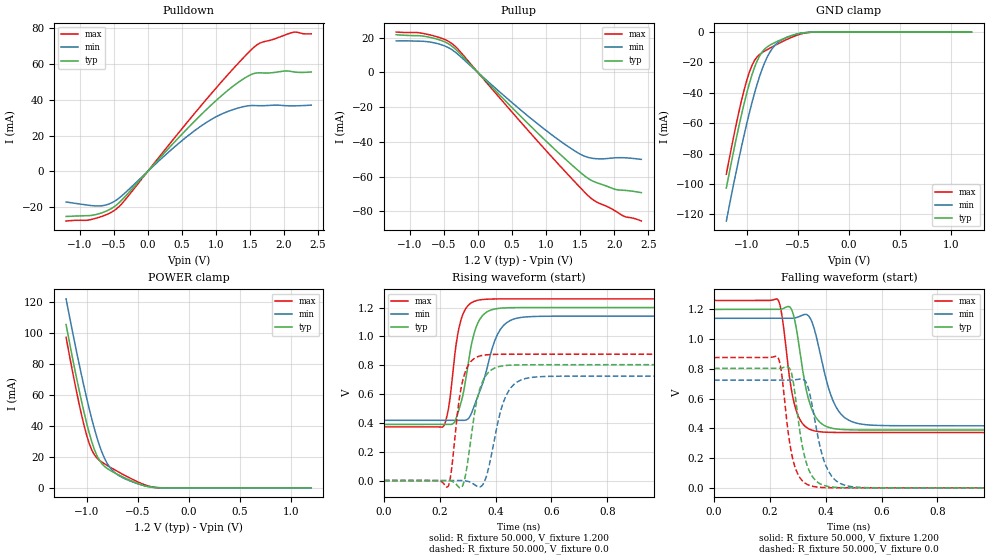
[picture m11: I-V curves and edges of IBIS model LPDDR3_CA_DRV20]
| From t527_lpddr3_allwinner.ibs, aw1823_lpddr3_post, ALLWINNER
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|   Model LPDDR3_CA_DRV20
[Model] LPDDR3_CA_DRV20
Model_type 3-state
Polarity   Non-Inverting
Enable   Active-Low
C_comp   1.408pF   1.324pF   1.527pF
C_comp_pullup   0.734pF   0.682pF   0.801pF
C_comp_pulldown   0.625pF   0.594pF   0.676pF
[Temperature Range]   25.000   0.125k   -40.000
[Voltage Range]   1.200V   1.140V   1.260V
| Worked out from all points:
|   slope of the pulldown table from 0 to 0.18 V, typ, clamps not added: 23.7 ohm
|   slope of the pullup table from 0 to 0.18 V, typ, clamps not added: 24.5 ohm
|   GND clamp passes 1 mA (typ) near -0.48 V on its own axis
|   POWER clamp passes 1 mA (typ) near -0.41 V on its own axis
|   rising waveform, R_fixture 50.000, V_fixture 1.200: 20-80 % time 48.2ps typ, 70.7ps min, 36.5ps max; typ from 0.389 V to 1.2 V
|   rising waveform, R_fixture 50.000, V_fixture 0.0: 20-80 % time 42.2ps typ, 53.9ps min, 35.3ps max; typ from 0 V to 0.803 V
|   falling waveform, R_fixture 50.000, V_fixture 1.200: 20-80 % time 48.1ps typ, 63.2ps min, 40.7ps max; typ from 1.2 V to 0.389 V
|   falling waveform, R_fixture 50.000, V_fixture 0.0: 20-80 % time 42.6ps typ, 52.7ps min, 38.1ps max; typ from 0.803 V to 0 V
[Pulldown]
|Voltage   I(typ)   I(min)   I(max)
-1.2V     -25.25mA   -17.13mA   -27.8mA
-904mV    -24.84mA   -18.8mA    -27.41mA
-682mV    -23.29mA   -19.29mA   -25.3mA
-423mV    -17.61mA   -15.01mA   -19.74mA
317mV     13.29mA    11.13mA    15.16mA
724mV     29.44mA    23.76mA    34.1mA
1.057V    41.44mA    31.55mA    48.96mA
1.427V    52.25mA    36.36mA    64.44mA
1.575V    54.87mA    36.78mA    69.95mA
1.686V    55.05mA    36.7mA     72.29mA
2.13V     55.69mA    36.62mA    77.73mA
2.4V      55.58mA    37.02mA    76.91mA
[Pullup]
|Voltage   I(typ)   I(min)   I(max)
-1.2V     21.71mA    18.14mA    23.27mA
-893mV    21.2mA     18.05mA    22.97mA
-708mV    20.23mA    17.55mA    21.64mA
-523mV    18.18mA    15.78mA    19.52mA
-375mV    14.97mA    12.91mA    16.45mA
772mV     -30.81mA   -26.25mA   -34.92mA
1.475V    -56.52mA   -46.39mA   -65.14mA
1.623V    -61.11mA   -48.95mA   -71.07mA
1.734V    -63.29mA   -49.62mA   -74.36mA
1.993V    -66.98mA   -49.17mA   -79.13mA
2.141V    -67.8mA    -49.07mA   -82.7mA
2.4V      -69.16mA   -50.03mA   -85.49mA
[GND_clamp]
|Voltage   I(typ)   I(min)   I(max)
-1.2V     -102.7mA   -124.4mA   -93.59mA
-1.125V   -77.24mA   -98.95mA   -67.74mA
-1.05V    -53.97mA   -75.04mA   -44.66mA
-1V       -40.19mA   -60.27mA   -31.8mA
-950mV    -28.4mA    -46.71mA   -22.12mA
-900mV    -19.25mA   -34.66mA   -16.44mA
-825mV    -11.25mA   -20.2mA    -12.55mA
-775mV    -8.684mA   -13.39mA   -10.65mA
-700mV    -6.13mA    -7.175mA   -7.957mA
-550mV    -2.174mA   -2.06mA    -3.161mA
-375mV    -119.5uA   -151.7uA   -195.8uA
1.2V      0A         0A         0A
[POWER_clamp]
|Voltage   I(typ)   I(min)   I(max)
-1.2V     105.6mA    122.2mA    97.33mA
-1.075V   63.95mA    80.94mA    55.07mA
-1.025V   49.04mA    65.7mA     40.61mA
-975mV    35.84mA    51.51mA    28.98mA
-950mV    30.13mA    44.91mA    24.7mA
-900mV    21.12mA    32.98mA    19.42mA
-850mV    15.64mA    23.2mA     16.66mA
-800mV    12.63mA    16.05mA    14.58mA
-725mV    9.709mA    9.877mA    11.69mA
-525mV    3.493mA    3.222mA    4.681mA
-325mV    158.9uA    254.9uA    258.2uA
1.2V      0A         0A         0A
[Ramp]
| variable   typ   min   max
dV/dt_r   0.482/42.238p   0.434/54.835p   0.526/35.415p
dV/dt_f   0.487/48.177p   0.434/63.286p   0.533/40.817p
R_load = 50.000
[Rising Waveform]
R_fixture= 50.000
V_fixture= 1.200
V_fixture_min= 1.140
V_fixture_max= 1.260
|time   V(typ)   V(min)   V(max)
0s        388.8mV    417.3mV    372mV
212ps     389.1mV    417.6mV    373.2mV
232ps     388.7mV    417.6mV    508.5mV
257ps     423.2mV    417.6mV    923.1mV
274ps     526.7mV    417mV      1.101V
316ps     967.4mV    478.2mV    1.236V
342ps     1.114V     612.9mV    1.253V
416ps     1.195V     1.045V     1.26V
501ps     1.2V       1.134V     1.26V
3ns       1.2V       1.14V      1.26V
[Rising Waveform]
R_fixture= 50.000
V_fixture= 0.0
V_fixture_min= 0.0
V_fixture_max= 0.0
|time   V(typ)   V(min)   V(max)
0s        560.2nV    8.089uV    131nV
230ps     -37.01uV   -103.1uV   -40.94mV
241ps     -3.899mV   -46.54uV   59.57mV
279ps     -45.31mV   305.8uV    666mV
297ps     90.07mV    -4.207mV   780.8mV
333ps     557.4mV    -39.56mV   856.4mV
361ps     715.1mV    -2.925mV   870.4mV
436ps     798mV      582.3mV    876.1mV
527ps     803.2mV    714.5mV    876.4mV
3ns       803.4mV    724.1mV    876.4mV
[Falling Waveform]
R_fixture= 50.000
V_fixture= 1.200
V_fixture_min= 1.140
V_fixture_max= 1.260
|time   V(typ)   V(min)   V(max)
0s        1.2V       1.14V      1.26V
227ps     1.2V       1.14V      1.268V
243ps     1.203V     1.14V      1.161V
273ps     1.213V     1.14V      707.4mV
308ps     909.3mV    1.154V     457.8mV
336ps     613.1mV    1.16V      400.2mV
371ps     458.2mV    979.6mV    379mV
437ps     396.1mV    543.5mV    372.5mV
543ps     389mV      424.8mV    372mV
3ns       388.8mV    417.3mV    372mV
[Falling Waveform]
R_fixture= 50.000
V_fixture= 0.0
V_fixture_min= 0.0
V_fixture_max= 0.0
|time   V(typ)   V(min)   V(max)
0s        803.4mV    724.1mV    876.4mV
227ps     803.2mV    724.2mV    880.9mV
243ps     806.4mV    724mV      756mV
270ps     804.5mV    723.8mV    312.3mV
293ps     585.8mV    727.5mV    123.2mV
328ps     184mV      714.8mV    28.94mV
358ps     61.74mV    485.7mV    8.219mV
410ps     8.809mV    111.1mV    986.5uV
502ps     282.9uV    6.05mV     20.49uV
3ns       563.4nV    8.078uV    146.6nV
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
